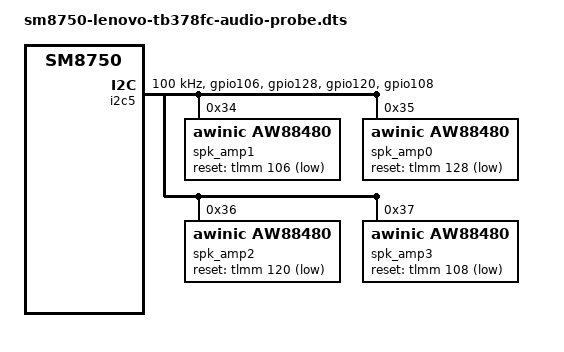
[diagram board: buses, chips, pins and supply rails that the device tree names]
// SPDX-License-Identifier: BSD-3-Clause
/* Native amp enumeration only: no sound card or automatic playback. */
#include "sm8750-lenovo-tb378fc-battery.dts"

&tlmm {
    tb378fc_amp_resets: amp-resets-state {
        pins = "gpio106", "gpio128", "gpio120", "gpio108";
        function = "gpio";
        drive-strength = <2>;
        bias-disable;
    };
};

&i2c5 {
    status = "okay";
    pinctrl-0 = <&qup_i2c5_data_clk>, <&tb378fc_amp_resets>;
    clock-frequency = <100000>;

    spk_amp1: amplifier@34 {
        compatible = "awinic,aw88480";
        reg = <0x34>;
        #sound-dai-cells = <0>;
        sound-name-prefix = "Amp1";
        awinic,audio-channel = <1>;
        reset-gpios = <&tlmm 106 GPIO_ACTIVE_LOW>;
        firmware-name = "awinic/tb378fc/aw88480-native-music.acf";
    };

    spk_amp0: amplifier@35 {
        compatible = "awinic,aw88480";
        reg = <0x35>;
        #sound-dai-cells = <0>;
        sound-name-prefix = "Amp0";
        awinic,audio-channel = <0>;
        reset-gpios = <&tlmm 128 GPIO_ACTIVE_LOW>;
        firmware-name = "awinic/tb378fc/aw88480-native-music.acf";
    };

    spk_amp2: amplifier@36 {
        compatible = "awinic,aw88480";
        reg = <0x36>;
        #sound-dai-cells = <0>;
        sound-name-prefix = "Amp2";
        awinic,audio-channel = <2>;
        reset-gpios = <&tlmm 120 GPIO_ACTIVE_LOW>;
        firmware-name = "awinic/tb378fc/aw88480-native-music.acf";
    };

    spk_amp3: amplifier@37 {
        compatible = "awinic,aw88480";
        reg = <0x37>;
        #sound-dai-cells = <0>;
        sound-name-prefix = "Amp3";
        awinic,audio-channel = <3>;
        reset-gpios = <&tlmm 108 GPIO_ACTIVE_LOW>;
        firmware-name = "awinic/tb378fc/aw88480-native-music.acf";
    };
};
